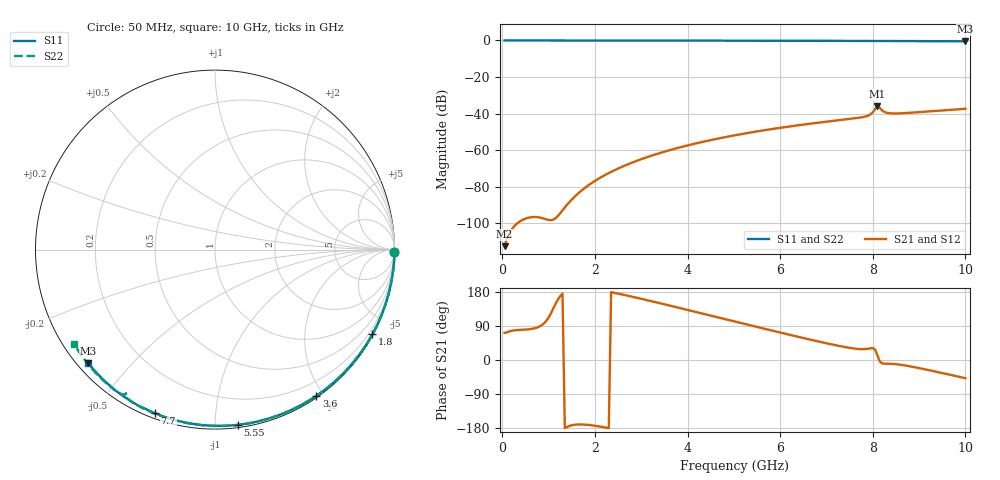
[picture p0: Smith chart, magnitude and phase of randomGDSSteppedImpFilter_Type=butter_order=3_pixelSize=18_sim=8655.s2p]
! freq	dB(S11)	phase(S11)	dB(S12)	phase(S12)
!  dB(S21)	phase(S21)	dB(S22)	phase(S22)
!S-par simulation data
#  GHz  S  DB  R 50
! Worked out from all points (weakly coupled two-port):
!   200 points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, 50 MHz to 10 GHz, reference 50 ohm
!   highest |S21| = -36.11 dB at 8.1 GHz (marker M1); lowest = -112.6 dB at 50 MHz (marker M2)
!   lowest |S11| = -0.5 dB at 10 GHz (marker M3), VSWR 37.28, Z = 1.54 - j19.1 ohm
!   |S11| at or under -10 dB: nowhere
!   |S22| runs from -0.5 to 0.0 dB; largest |S21 - S12| = 0
!   S11 on the Smith chart (normalised r, x): 50 MHz: open; 1.8 GHz: 0.03, -3.96; 3.6 GHz: 0.02, -1.91; 5.55 GHz: 0.02, -1.14; 7.7 GHz: 0.02, -0.70; 10 GHz: 0.03, -0.38
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0.05  -0.00 -0.8  -112.59 71.9  -112.59 71.9  -0.00 -0.9
0.9  -0.02 -14.3  -97.55 96.7  -97.55 96.7  -0.02 -15.2
1.75  -0.04 -27.5  -81.35 -170.4  -81.35 -170.4  -0.04 -29.3
1.8  -0.04 -28.3  -80.37 -170.7  -80.37 -170.7  -0.04 -30.1
2.2  -0.04 -34.4  -73.91 -177.5  -73.91 -177.5  -0.05 -36.6
2.5  -0.05 -39.0  -70.11 175.2  -70.11 175.2  -0.05 -41.4
2.9  -0.06 -45.0  -65.92 164.4  -65.92 164.4  -0.06 -47.8
3.4  -0.07 -52.4  -61.63 150.0  -61.63 150.0  -0.07 -55.6
3.6  -0.07 -55.3  -60.14 144.1  -60.14 144.1  -0.08 -58.7
4.3  -0.09 -65.3  -55.65 123.1  -55.65 123.1  -0.10 -69.3
5.05  -0.12 -75.7  -51.77 100.6  -51.77 100.6  -0.12 -80.3
5.55  -0.14 -82.5  -49.58 85.7  -49.58 85.7  -0.14 -87.4
6.7  -0.19 -97.6  -45.40 52.3  -45.40 52.3  -0.20 -103.3
7.7  -0.26 -110.2  -42.34 29.0  -42.34 29.0  -0.27 -116.7
7.85  -0.27 -112.0  -41.59 28.9  -41.59 28.9  -0.29 -118.8
7.95  -0.28 -113.2  -40.49 30.9  -40.49 30.9  -0.33 -120.3
8  -0.28 -113.8  -39.34 31.6  -39.34 31.6  -0.36 -121.1
8.1  -0.28 -115.0  -36.11 12.6  -36.11 12.6  -0.53 -121.7
8.25  -0.29 -116.9  -39.11 -9.8  -39.11 -9.8  -0.36 -123.0
8.35  -0.30 -118.1  -39.80 -9.8  -39.80 -9.8  -0.34 -124.5
8.7  -0.33 -122.4  -39.75 -14.4  -39.75 -14.4  -0.36 -129.2
10  -0.47 -138.1  -37.41 -48.1  -37.41 -48.1  -0.49 -146.0
